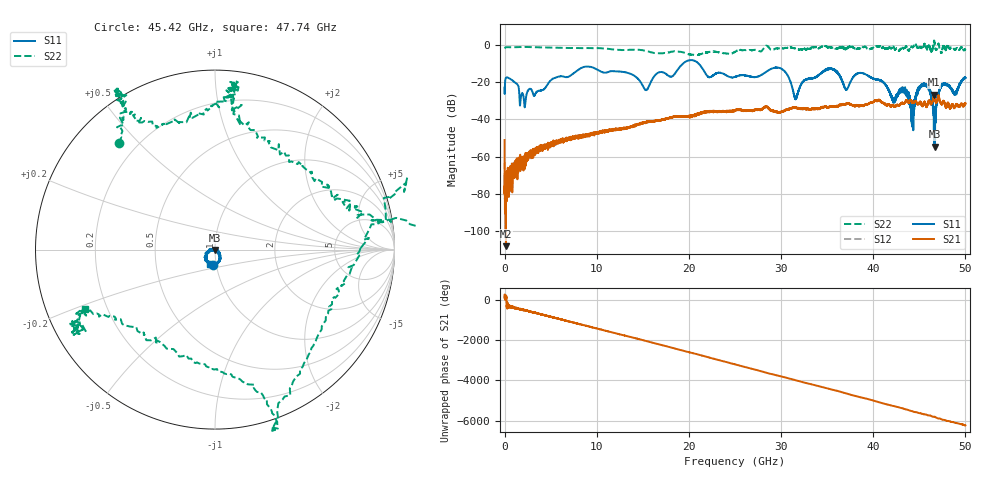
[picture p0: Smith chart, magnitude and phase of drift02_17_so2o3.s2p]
!Created with skrf (http://scikit-rf.org).
# Hz S RI R 50.0
!freq ReS11 ImS11 ReS21 ImS21 ReS12 ImS12 ReS22 ImS22
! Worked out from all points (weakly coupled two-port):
!   10001 points, 300 kHz to 50 GHz, reference 50 ohm
!   highest |S21| = -26.89 dB at 46.6 GHz (marker M1); lowest = -108.0 dB at 145.3 MHz (marker M2)
!   lowest |S11| = -54.8 dB at 46.69 GHz (marker M3), VSWR 1.00, Z = 50 - j0.177 ohm
!   |S11| at or under -10 dB: start of sweep to 19.42 GHz; 21 GHz to end of sweep
!   |S22| runs from -5.7 to 2.2 dB; largest |S21 - S12| = 0.0037
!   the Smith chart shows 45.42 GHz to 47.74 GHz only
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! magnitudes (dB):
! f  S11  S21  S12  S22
! 300 kHz  -23.1  -51.2  -63.2  -2.1
! 145.3 MHz  -17.8  -108.0  -73.3  -1.5
! 2.19 GHz  -33.6  -64.1  -63.2  -1.3
! 8.335 GHz  -12.5  -49.7  -49.1  -1.9
! 15.33 GHz  -24.4  -41.7  -41.4  -3.4
! 16.67 GHz  -15.1  -40.9  -40.7  -4.7
! 20.28 GHz  -8.3  -38.6  -38.6  -5.5
! 25 GHz  -17.3  -35.4  -35.3  -3.9
! 29.86 GHz  -12.6  -36.5  -36.5  -2.0
! 31.6 GHz  -29.0  -33.8  -34.0  -2.5
! 33.34 GHz  -18.0  -34.6  -34.4  -1.6
! 35.6 GHz  -13.1  -33.2  -33.3  -1.7
! 37.1 GHz  -24.2  -31.7  -31.7  -2.3
! 38.76 GHz  -15.3  -32.7  -32.7  -1.0
! 41.67 GHz  -24.5  -32.3  -32.2  -1.9
! 43.43 GHz  -23.4  -31.1  -31.3  -1.9
! 44.26 GHz  -37.1  -31.0  -31.3  -1.5
! 45.69 GHz  -21.6  -32.6  -32.2  -0.6
! 46.6 GHz  -38.8  -26.9  -26.8  1.9
! 46.69 GHz  -54.8  -29.7  -29.0  -0.2
! 47.47 GHz  -21.7  -31.7  -31.5  -3.3
! 50 GHz  -18.0  -31.8  -31.6  -2.6
